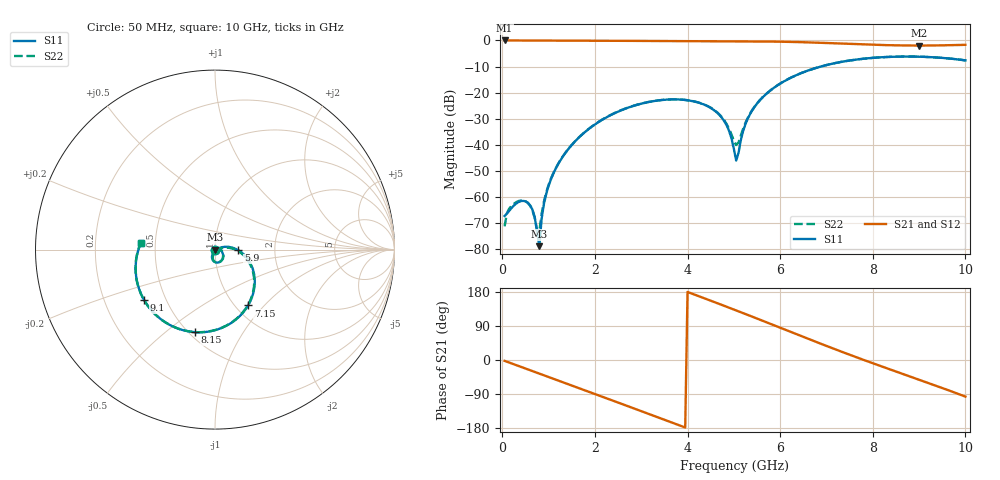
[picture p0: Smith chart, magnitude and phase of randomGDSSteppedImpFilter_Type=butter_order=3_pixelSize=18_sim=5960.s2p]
! freq	dB(S11)	phase(S11)	dB(S12)	phase(S12)
!  dB(S21)	phase(S21)	dB(S22)	phase(S22)
!S-par simulation data
#  GHz  S  DB  R 50
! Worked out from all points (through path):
!   200 points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, 50 MHz to 10 GHz, reference 50 ohm
!   highest |S21| = 0.00 dB at 50 MHz (marker M1); lowest = -2.0 dB at 9 GHz (marker M2)
!   group delay of S21, straight-line fit = 128 ps
!   lowest |S11| = -79.0 dB at 800 MHz (marker M3), VSWR 1.00, Z = 50 + j0.00959 ohm
!   |S11| at or under -10 dB: start of sweep to 6.881 GHz
!   |S22| runs from -73.2 to -6.2 dB; largest |S21 - S12| = 0
!   S11 on the Smith chart (normalised r, x): 50 MHz: 1.00, -0.00; 5.9 GHz: 1.30, -0.01; 7.15 GHz: 1.14, -0.82; 8.15 GHz: 0.54, -0.63; 9.1 GHz: 0.38, -0.28; 10 GHz: 0.41, +0.04
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0.05  -67.35 -16.3  -0.00 -2.3  -0.00 -2.3  -71.33 6.9
0.2  -64.32 -61.4  -0.02 -9.0  -0.02 -9.0  -63.50 -79.0
0.55  -62.25 -105.4  -0.03 -24.7  -0.03 -24.7  -62.35 -114.2
0.7  -67.72 -122.7  -0.04 -31.4  -0.04 -31.4  -68.14 -136.8
0.8  -78.95 121.8  -0.04 -35.9  -0.04 -35.9  -73.24 120.7
0.9  -62.66 65.4  -0.05 -40.4  -0.05 -40.4  -61.76 72.8
1.05  -53.31 52.3  -0.05 -47.1  -0.05 -47.1  -53.04 57.3
1.75  -35.69 15.4  -0.09 -78.5  -0.09 -78.5  -35.62 19.3
2.55  -26.94 -22.4  -0.14 -114.5  -0.14 -114.5  -26.86 -19.7
3.4  -22.95 -61.3  -0.21 -153.1  -0.21 -153.1  -22.93 -58.7
4.6  -27.14 -112.5  -0.29 151.9  -0.29 151.9  -27.01 -106.5
4.9  -34.84 -117.1  -0.31 137.9  -0.31 137.9  -34.01 -103.3
5.05  -46.11 -61.5  -0.32 130.9  -0.32 130.9  -40.13 -55.0
5.35  -28.27 19.4  -0.34 116.6  -0.34 116.6  -28.03 12.0
5.9  -17.73 -1.6  -0.44 90.1  -0.44 90.1  -17.71 -3.9
6.7  -10.96 -38.6  -0.79 51.4  -0.79 51.4  -10.95 -39.6
7.15  -8.83 -59.4  -1.09 30.1  -1.09 30.1  -8.83 -60.1
8.15  -6.49 -103.7  -1.73 -15.1  -1.73 -15.1  -6.49 -104.2
8.35  -6.31 -112.3  -1.82 -23.8  -1.82 -23.8  -6.31 -112.8
9  -6.24 -140.1  -1.96 -51.9  -1.96 -51.9  -6.23 -140.5
9.1  -6.29 -144.4  -1.95 -56.2  -1.95 -56.2  -6.29 -144.8
10  -7.65 175.0  -1.68 -96.6  -1.68 -96.6  -7.65 174.6
